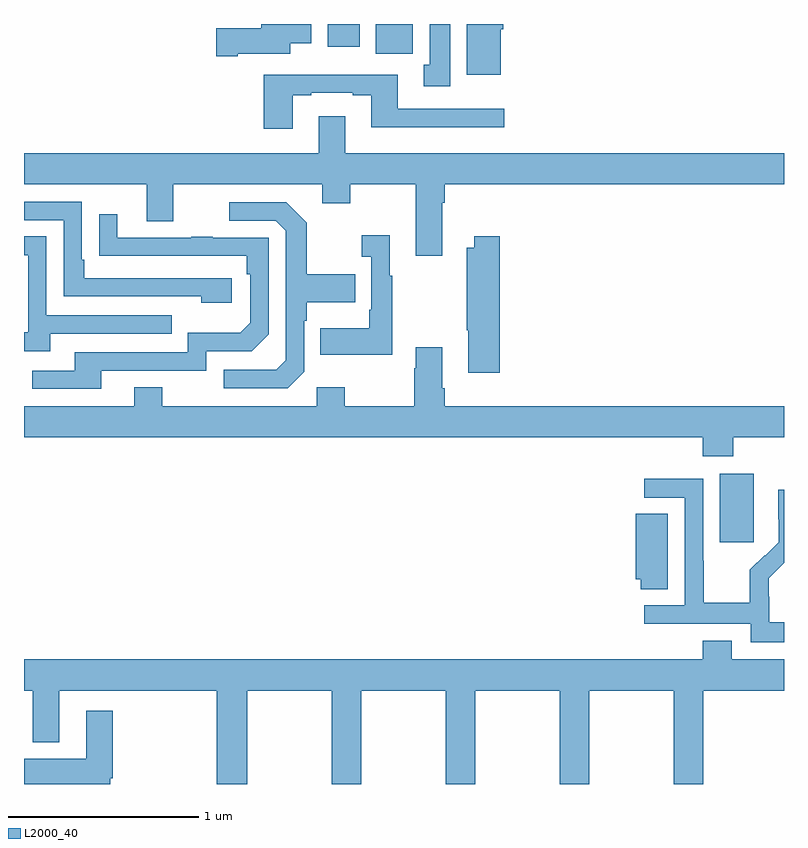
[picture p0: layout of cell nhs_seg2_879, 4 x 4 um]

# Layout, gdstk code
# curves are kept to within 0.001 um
import gdstk
lib = gdstk.Library(unit=1e-6, precision=1e-09)
def R(c, l, rs):  # rectangles x0, y0, x1, y1
    for r in rs: c.add(gdstk.rectangle(r[:2], r[2:], *l))
def P(c, l, *ps):  # polygons
    for p in ps: c.add(gdstk.Polygon(p, *l))
L2000_40 = (2000, 40)

nhs_seg2_879 = lib.new_cell('nhs_seg2_879')
R(nhs_seg2_879, L2000_40, [(158.663,659.073,158.842,659.434), (156.851,661.644,157.047,661.8), (156.599,661.68,156.766,661.8)])
P(nhs_seg2_879, L2000_40, [(157.51,661.772),(157.523,661.772),(157.523,661.8),(157.331,661.8),(157.331,661.532),(157.51,661.532)],
  [(156.124,661.643),(156.4,661.643),(156.4,661.7),(156.511,661.7),(156.511,661.8),(156.248,661.8),(156.248,661.778),(156.012,661.778),(156.012,661.631),(156.124,661.631)],
  [(157.243,661.8),(157.136,661.8),(157.136,661.585),(157.103,661.585),(157.103,661.473),(157.243,661.473)],
  [(156.415,661.425),(156.511,661.425),(156.511,661.437),(156.731,661.437),(156.731,661.425),(156.827,661.425),(156.827,661.256),(157.528,661.256),(157.528,661.353),(156.967,661.353),(156.967,661.534),(156.263,661.534),(156.263,661.248),(156.415,661.248)],
  [(157.201,660.86),(157.214,660.86),(157.214,660.956),(159,660.956),(159,661.12),(156.691,661.12),(156.691,661.315),(156.551,661.315),(156.551,661.12),(155,661.12),(155,660.956),(155.645,660.956),(155.645,660.762),(155.785,660.762),(155.785,660.956),(156.569,660.956),(156.569,660.857),(156.717,660.857),(156.717,660.956),(157.061,660.956),(157.061,660.579),(157.201,660.579)],
  [(156.094,660.462),(155.317,660.462),(155.317,660.559),(155.304,660.559),(155.304,660.864),(155,660.864),(155,660.768),(155.208,660.768),(155.208,660.366),(155.933,660.366),(155.933,660.332),(156.094,660.332)],
  [(156.474,659.97),(156.474,660.239),(156.487,660.239),(156.487,660.335),(156.743,660.335),(156.743,660.483),(156.487,660.483),(156.487,660.755),(156.381,660.861),(156.081,660.861),(156.081,660.765),(156.324,660.765),(156.378,660.711),(156.378,660.03),(156.327,659.979),(156.051,659.979),(156.051,659.883),(156.387,659.883)],
  [(155.407,659.976),(155.958,659.976),(155.958,660.078),(156.198,660.078),(156.288,660.168),(156.288,660.675),(155.993,660.675),(155.993,660.68),(155.881,660.68),(155.881,660.675),(155.491,660.675),(155.491,660.799),(155.395,660.799),(155.395,660.58),(156.172,660.579),(156.172,660.482),(156.192,660.482),(156.192,660.228),(156.139,660.175),(155.862,660.175),(155.862,660.072),(155.267,660.072),(155.267,659.976),(155.043,659.976),(155.043,659.88),(155.407,659.88)],
  [(156.937,660.475),(156.925,660.475),(156.925,660.688),(156.777,660.688),(156.777,660.575),(156.828,660.575),(156.828,660.295),(156.816,660.295),(156.816,660.199),(156.559,660.199),(156.559,660.059),(156.937,660.059)],
  [(155.137,660.171),(155.777,660.171),(155.777,660.267),(155.118,660.267),(155.118,660.683),(155,660.683),(155,660.582),(155.022,660.582),(155.022,660.177),(155,660.177),(155,660.077),(155.137,660.077)],
  [(157.505,660.682),(157.37,660.682),(157.37,660.622),(157.33,660.622),(157.33,660.187),(157.337,660.187),(157.337,659.964),(157.505,659.964)],
  [(158.733,659.624),(159,659.624),(159,659.788),(157.214,659.788),(157.214,659.884),(157.201,659.884),(157.201,660.1),(157.061,660.1),(157.061,659.987),(157.054,659.987),(157.054,659.788),(156.687,659.788),(156.687,659.887),(156.54,659.887),(156.54,659.788),(155.727,659.788),(155.727,659.887),(155.579,659.887),(155.579,659.788),(155,659.788),(155,659.624),(158.573,659.624),(158.573,659.525),(158.733,659.525)],
  [(159,658.651),(158.922,658.651),(158.922,658.785),(158.92,658.785),(158.92,658.882),(158.994,658.956),(158.993,658.957),(159,658.964),(159,659.348),(158.97,659.348),(158.97,659.194),(158.972,659.194),(158.972,659.072),(158.901,659.001),(158.898,659.004),(158.821,658.927),(158.821,658.753),(158.577,658.753),(158.577,658.976),(158.574,658.976),(158.574,659.406),(158.265,659.406),(158.265,659.307),(158.478,659.307),(158.478,658.74),(158.265,658.74),(158.265,658.644),(158.826,658.644),(158.826,658.547),(159,658.547)],
  [(158.389,659.222),(158.219,659.222),(158.219,658.878),(158.246,658.878),(158.246,658.825),(158.389,658.825)],
  [(155,658.292),(155.045,658.292),(155.045,658.019),(155.185,658.019),(155.185,658.292),(156.014,658.292),(156.014,657.8),(156.174,657.8),(156.174,658.292),(156.619,658.292),(156.619,657.8),(156.774,657.8),(156.774,658.292),(157.219,658.292),(157.219,657.8),(157.374,657.8),(157.374,658.292),(157.819,658.292),(157.819,657.8),(157.974,657.8),(157.974,658.292),(158.419,658.292),(158.419,657.8),(158.574,657.8),(158.574,658.292),(159,658.292),(159,658.456),(158.725,658.456),(158.725,658.555),(158.573,658.555),(158.573,658.456),(155,658.456)],
  [(155.455,657.83),(155.468,657.83),(155.468,658.186),(155.327,658.186),(155.327,657.934),(155,657.934),(155,657.8),(155.455,657.8)])

lib.write_gds('nhs_seg2_879.gds')
